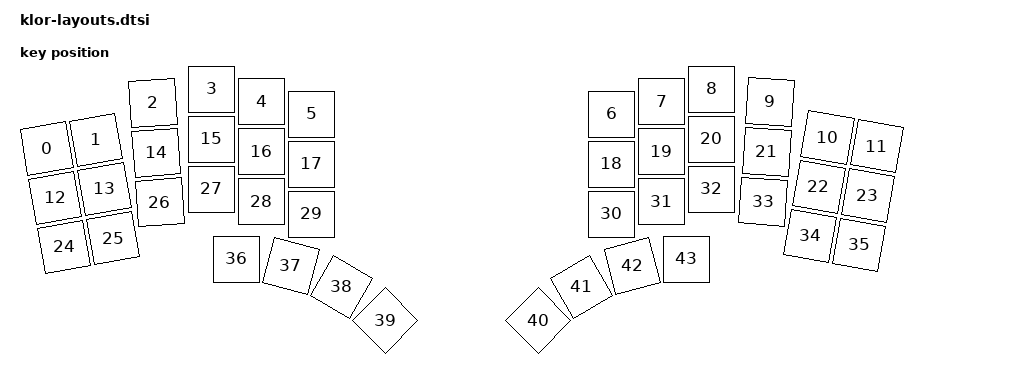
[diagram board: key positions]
#include <physical_layouts.dtsi>

/ {
    klor_physical_layout: klor_physical_layout {
        compatible = "zmk,physical-layout";
        display-name = "KLOR Layout";
        transform = <&default_transform>;
        kscan = <&kscan0>;  

        keys  //                     w   h    x    y     rot    rx    ry
            = <&key_physical_attrs 100 100    0   90 (-1000)   200   325>
            , <&key_physical_attrs 100 100  100   90 (-1000)   200   325>
            , <&key_physical_attrs 100 100  200   25  (-400)   275   325>
            , <&key_physical_attrs 100 100  300    0       0     0     0>
            , <&key_physical_attrs 100 100  400   25       0     0     0>
            , <&key_physical_attrs 100 100  500   50       0     0     0>
            , <&key_physical_attrs 100 100 1100   50       0     0     0>
            , <&key_physical_attrs 100 100 1200   25       0     0     0>
            , <&key_physical_attrs 100 100 1300    0       0     0     0>
            , <&key_physical_attrs 100 100 1400   25     400  1450   325>
            , <&key_physical_attrs 100 100 1500   90    1000  1525   325>
            , <&key_physical_attrs 100 100 1600   90    1000  1525   325>
            , <&key_physical_attrs 100 100    0  190 (-1000)   200   325>
            , <&key_physical_attrs 100 100  100  190 (-1000)   200   325>
            , <&key_physical_attrs 100 100  200  125  (-400)   275   325>
            , <&key_physical_attrs 100 100  300  100       0     0     0>
            , <&key_physical_attrs 100 100  400  125       0     0     0>
            , <&key_physical_attrs 100 100  500  150       0     0     0>
            , <&key_physical_attrs 100 100 1100  150       0     0     0>
            , <&key_physical_attrs 100 100 1200  125       0     0     0>
            , <&key_physical_attrs 100 100 1300  100       0     0     0>
            , <&key_physical_attrs 100 100 1400  125     400  1450   325>
            , <&key_physical_attrs 100 100 1500  190    1000  1525   325>
            , <&key_physical_attrs 100 100 1600  190    1000  1525   325>
            , <&key_physical_attrs 100 100    0  290 (-1000)   200   325>
            , <&key_physical_attrs 100 100  100  290 (-1000)   200   325>
            , <&key_physical_attrs 100 100  200  225  (-400)   275   325>
            , <&key_physical_attrs 100 100  300  200       0     0     0>
            , <&key_physical_attrs 100 100  400  225       0     0     0>
            , <&key_physical_attrs 100 100  500  250       0     0     0>
            , <&key_physical_attrs 100 100 1100  250       0     0     0>
            , <&key_physical_attrs 100 100 1200  225       0     0     0>
            , <&key_physical_attrs 100 100 1300  200       0     0     0>
            , <&key_physical_attrs 100 100 1400  225     400  1450   325>
            , <&key_physical_attrs 100 100 1500  290    1000  1525   325>
            , <&key_physical_attrs 100 100 1600  290    1000  1525   325>
            , <&key_physical_attrs 100 100  350  340       0     0     0>
            , <&key_physical_attrs 100 100  350  340    1500   400   810>
            , <&key_physical_attrs 100 100  350  340    3000   400   810>
            , <&key_physical_attrs 100 100  350  340    4500   400   810>
            , <&key_physical_attrs 100 100 1250  340 (-4500)  1300   810>
            , <&key_physical_attrs 100 100 1250  340 (-3000)  1300   810>
            , <&key_physical_attrs 100 100 1250  340 (-1500)  1300   810>
            , <&key_physical_attrs 100 100 1250  340       0     0     0>
            ;
    };
};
